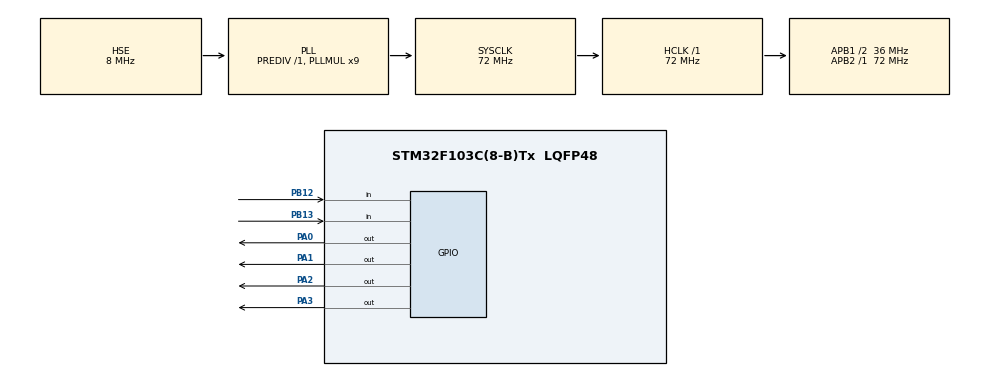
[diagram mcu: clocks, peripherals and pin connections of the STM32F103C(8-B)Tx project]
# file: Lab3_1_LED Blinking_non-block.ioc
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Mcu.Family=STM32F1
Mcu.Name=STM32F103C(8-B)Tx
Mcu.Package=LQFP48
NVIC.PriorityGroup=NVIC_PRIORITYGROUP_4
PA0-WKUP.PinState=GPIO_PIN_SET
PA0-WKUP.Signal=GPIO_Output
PA1.PinState=GPIO_PIN_SET
PA1.Signal=GPIO_Output
PA13.Mode=Serial_Wire
PA13.Signal=SYS_JTMS-SWDIO
PA14.Mode=Serial_Wire
PA14.Signal=SYS_JTCK-SWCLK
PA2.PinState=GPIO_PIN_SET
PA2.Signal=GPIO_Output
PA3.PinState=GPIO_PIN_SET
PA3.Signal=GPIO_Output
PB12.GPIO_PuPd=GPIO_PULLDOWN
PB12.Signal=GPIO_Input
PB13.GPIO_PuPd=GPIO_PULLDOWN
PB13.Signal=GPIO_Input
PD0-OSC_IN.Mode=HSE-External-Oscillator
PD0-OSC_IN.Signal=RCC_OSC_IN
PD1-OSC_OUT.Mode=HSE-External-Oscillator
PD1-OSC_OUT.Signal=RCC_OSC_OUT
ProjectManager.HeapSize=0x200
ProjectManager.StackSize=0x400
ProjectManager.TargetToolchain=STM32CubeIDE
RCC.AHBFreq_Value=72000000
RCC.APB1CLKDivider=RCC_HCLK_DIV2
RCC.APB1Freq_Value=36000000
RCC.APB1TimFreq_Value=72000000
RCC.APB2Freq_Value=72000000
RCC.APB2TimFreq_Value=72000000
RCC.HCLKFreq_Value=72000000
RCC.PLLMUL=RCC_PLL_MUL9
RCC.PLLSourceVirtual=RCC_PLLSOURCE_HSE
RCC.SYSCLKFreq_VALUE=72000000
RCC.SYSCLKSource=RCC_SYSCLKSOURCE_PLLCLK
RCC.USBFreq_Value=72000000
board=custom

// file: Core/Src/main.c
/* USER CODE BEGIN Header */
/**
  ******************************************************************************
  * @file           : main.c
  * @brief          : Main program body
  ******************************************************************************
  * @attention
  *
  * Copyright (c) 2026 STMicroelectronics.
  * All rights reserved.
  *
  * This software is licensed under terms that can be found in the LICENSE file
  * in the root directory of this software component.
  * If no LICENSE file comes with this software, it is provided AS-IS.
  *
  ******************************************************************************
  */
/* USER CODE END Header */
#include "main.h"

/* USER CODE BEGIN PV */
	uint32_t count1;
	uint32_t count2;
	uint32_t count3;
	uint32_t count4;

/* USER CODE END PV */

void SystemClock_Config(void);
static void MX_GPIO_Init(void);

int main(void)
{

  /* MCU Configuration--------------------------------------------------------*/

  /* Reset of all peripherals, Initializes the Flash interface and the Systick. */
  HAL_Init();

  /* Configure the system clock */
  SystemClock_Config();

  /* Initialize all configured peripherals */
  MX_GPIO_Init();

  /* Infinite loop */
  while (1)
  {

    /* USER CODE BEGIN 3 */
	  if (HAL_GetTick() - count1 > 500){
		  count1 = HAL_GetTick();
		  HAL_GPIO_TogglePin(GPIOA, GPIO_PIN_0);
	  }
	  if (HAL_GetTick() - count2 > 500){
	  	  count2 = HAL_GetTick();
	  	  HAL_GPIO_TogglePin(GPIOA, GPIO_PIN_1);
	  }
	  if (HAL_GetTick() - count3 > 250){
	  	  count3 = HAL_GetTick();
	  	  HAL_GPIO_TogglePin(GPIOA, GPIO_PIN_2);
	  }
	  if (HAL_GetTick() - count4 > 250){
	  	  count4 = HAL_GetTick();
	  	  HAL_GPIO_TogglePin(GPIOA, GPIO_PIN_3);
	  }
  }
  /* USER CODE END 3 */
}

void SystemClock_Config(void)
{
  RCC_OscInitTypeDef RCC_OscInitStruct = {0};
  RCC_ClkInitTypeDef RCC_ClkInitStruct = {0};

  /** Initializes the RCC Oscillators according to the specified parameters
  * in the RCC_OscInitTypeDef structure.
  */
  RCC_OscInitStruct.OscillatorType = RCC_OSCILLATORTYPE_HSE;
  RCC_OscInitStruct.HSEState = RCC_HSE_ON;
  RCC_OscInitStruct.HSEPredivValue = RCC_HSE_PREDIV_DIV1;
  RCC_OscInitStruct.HSIState = RCC_HSI_ON;
  RCC_OscInitStruct.PLL.PLLState = RCC_PLL_ON;
  RCC_OscInitStruct.PLL.PLLSource = RCC_PLLSOURCE_HSE;
  RCC_OscInitStruct.PLL.PLLMUL = RCC_PLL_MUL9;
  if (HAL_RCC_OscConfig(&RCC_OscInitStruct) != HAL_OK)
  {
    Error_Handler();
  }

  /** Initializes the CPU, AHB and APB buses clocks
  */
  RCC_ClkInitStruct.ClockType = RCC_CLOCKTYPE_HCLK|RCC_CLOCKTYPE_SYSCLK
                              |RCC_CLOCKTYPE_PCLK1|RCC_CLOCKTYPE_PCLK2;
  RCC_ClkInitStruct.SYSCLKSource = RCC_SYSCLKSOURCE_PLLCLK;
  RCC_ClkInitStruct.AHBCLKDivider = RCC_SYSCLK_DIV1;
  RCC_ClkInitStruct.APB1CLKDivider = RCC_HCLK_DIV2;
  RCC_ClkInitStruct.APB2CLKDivider = RCC_HCLK_DIV1;

  if (HAL_RCC_ClockConfig(&RCC_ClkInitStruct, FLASH_LATENCY_2) != HAL_OK)
  {
    Error_Handler();
  }
}

static void MX_GPIO_Init(void)
{
  GPIO_InitTypeDef GPIO_InitStruct = {0};

  /* GPIO Ports Clock Enable */
  __HAL_RCC_GPIOD_CLK_ENABLE();
  __HAL_RCC_GPIOA_CLK_ENABLE();
  __HAL_RCC_GPIOB_CLK_ENABLE();

  /*Configure GPIO pin Output Level */
  HAL_GPIO_WritePin(GPIOA, GPIO_PIN_0|GPIO_PIN_1|GPIO_PIN_2|GPIO_PIN_3, GPIO_PIN_SET);

  /*Configure GPIO pins : PA0 PA1 PA2 PA3 */
  GPIO_InitStruct.Pin = GPIO_PIN_0|GPIO_PIN_1|GPIO_PIN_2|GPIO_PIN_3;
  GPIO_InitStruct.Mode = GPIO_MODE_OUTPUT_PP;
  GPIO_InitStruct.Pull = GPIO_NOPULL;
  GPIO_InitStruct.Speed = GPIO_SPEED_FREQ_LOW;
  HAL_GPIO_Init(GPIOA, &GPIO_InitStruct);

  /*Configure GPIO pins : PB12 PB13 */
  GPIO_InitStruct.Pin = GPIO_PIN_12|GPIO_PIN_13;
  GPIO_InitStruct.Mode = GPIO_MODE_INPUT;
  GPIO_InitStruct.Pull = GPIO_PULLDOWN;
  HAL_GPIO_Init(GPIOB, &GPIO_InitStruct);

}

void Error_Handler(void)
{
  __disable_irq();
  while (1)
  {
  }
}
